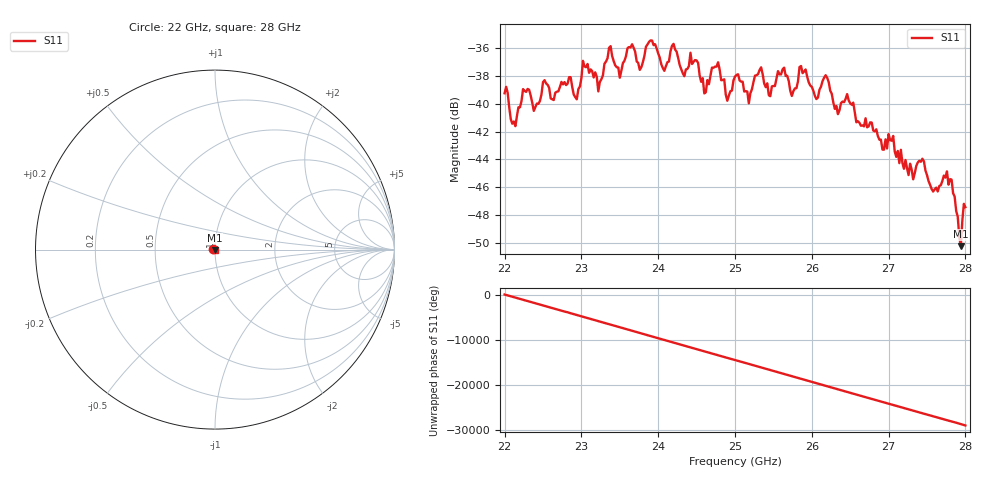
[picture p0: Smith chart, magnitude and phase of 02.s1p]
#  HZ  S  RI  R  50.00
! Rohde & Schwarz ZVA40 4Ports - Version 3.90 - 1145.1110k42 SN: 100403
! Date: 2023-10-04 08:26:01
! Measurement: S12
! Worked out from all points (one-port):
!   301 points, 22 GHz to 28 GHz, reference 50 ohm
!   lowest |S11| = -50.2 dB at 27.94 GHz (marker M1), VSWR 1.01, Z = 49.7 - j0.162 ohm
!   |S11| at or under -10 dB: start of sweep to end of sweep
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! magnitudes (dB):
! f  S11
! 22 GHz  -39.2
! 22.14 GHz  -41.6
! 22.24 GHz  -38.9
! 22.38 GHz  -40.5
! 22.76 GHz  -38.6
! 22.94 GHz  -39.7
! 23.02 GHz  -36.9
! 23.22 GHz  -39.1
! 23.38 GHz  -35.8
! 23.5 GHz  -38.1
! 23.66 GHz  -35.7
! 23.76 GHz  -37.5
! 23.9 GHz  -35.4
! 24.26 GHz  -36.7
! 24.5 GHz  -36.9
! 24.6 GHz  -39.2
! 24.78 GHz  -37.0
! 24.9 GHz  -39.8
! 25 GHz  -38.0
! 25.18 GHz  -39.9
! 25.34 GHz  -37.4
! 25.76 GHz  -39.1
! 25.86 GHz  -37.3
! 26.5 GHz  -39.9
! 27.26 GHz  -45.1
! 27.76 GHz  -44.9
! 27.94 GHz  -50.2
! 28 GHz  -47.4
